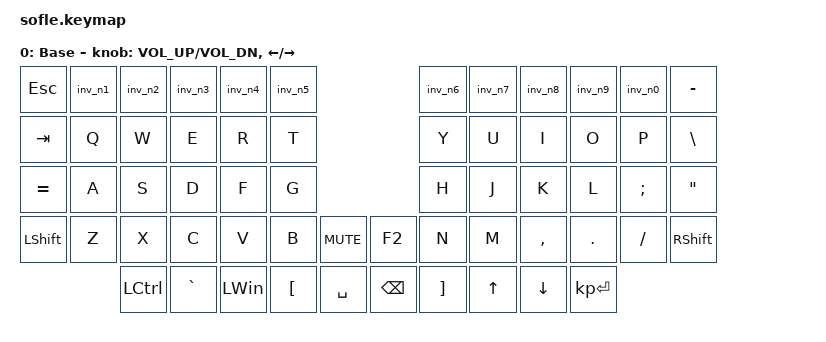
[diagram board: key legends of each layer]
/*
 * Copyright (c) 2020 The ZMK Contributors
 *
 * SPDX-License-Identifier: MIT
 */
#include <behaviors.dtsi>
#include <dt-bindings/zmk/keys.h>

// Encoders
&sensors { triggers-per-rotation = <30>; };
&left_encoder { steps = <30>; };
&right_encoder { steps = <30>; };

#define BASE 0
#define LOWER 1
#define RAISE 2
#define ADJUST 3

/ {
    // Activate ADJUST layer by pressing raise and lower
    conditional_layers { compatible = "zmk,conditional-layers"; };
    combos { compatible = "zmk,combos"; };
    
    behaviors {
        caps: caps {
            compatible = "zmk,behavior-caps-word";
            label = "CAPS";
            #binding-cells = <0>;
            continue-list = <POUND MINUS BACKSPACE UNDERSCORE>;
        };

        // Inverted number behaviors with smart modifier handling
        inv_n1: inv_n1 {
            compatible = "zmk,behavior-mod-morph";
            label = "INVERTED_1";
            #binding-cells = <0>;
            bindings = <&kp EXCL>, <&kp N1>;
            mods = <(MOD_LSFT|MOD_RSFT|MOD_LGUI|MOD_RGUI|MOD_LCTL|MOD_RCTL|MOD_LALT|MOD_RALT)>;
            keep-mods = <(MOD_LGUI|MOD_RGUI|MOD_LCTL|MOD_RCTL|MOD_LALT|MOD_RALT)>;
        };

        inv_n2: inv_n2 {
            compatible = "zmk,behavior-mod-morph";
            label = "INVERTED_2";
            #binding-cells = <0>;
            bindings = <&kp AT>, <&kp N2>;
            mods = <(MOD_LSFT|MOD_RSFT|MOD_LGUI|MOD_RGUI|MOD_LCTL|MOD_RCTL|MOD_LALT|MOD_RALT)>;
            keep-mods = <(MOD_LGUI|MOD_RGUI|MOD_LCTL|MOD_RCTL|MOD_LALT|MOD_RALT)>;
        };

        inv_n3: inv_n3 {
            compatible = "zmk,behavior-mod-morph";
            label = "INVERTED_3";
            #binding-cells = <0>;
            bindings = <&kp HASH>, <&kp N3>;
            mods = <(MOD_LSFT|MOD_RSFT|MOD_LGUI|MOD_RGUI|MOD_LCTL|MOD_RCTL|MOD_LALT|MOD_RALT)>;
            keep-mods = <(MOD_LGUI|MOD_RGUI|MOD_LCTL|MOD_RCTL|MOD_LALT|MOD_RALT)>;
        };

        inv_n4: inv_n4 {
            compatible = "zmk,behavior-mod-morph";
            label = "INVERTED_4";
            #binding-cells = <0>;
            bindings = <&kp DLLR>, <&kp N4>;
            mods = <(MOD_LSFT|MOD_RSFT|MOD_LGUI|MOD_RGUI|MOD_LCTL|MOD_RCTL|MOD_LALT|MOD_RALT)>;
            keep-mods = <(MOD_LGUI|MOD_RGUI|MOD_LCTL|MOD_RCTL|MOD_LALT|MOD_RALT)>;
        };

        inv_n5: inv_n5 {
            compatible = "zmk,behavior-mod-morph";
            label = "INVERTED_5";
            #binding-cells = <0>;
            bindings = <&kp PRCNT>, <&kp N5>;
            mods = <(MOD_LSFT|MOD_RSFT|MOD_LGUI|MOD_RGUI|MOD_LCTL|MOD_RCTL|MOD_LALT|MOD_RALT)>;
            keep-mods = <(MOD_LGUI|MOD_RGUI|MOD_LCTL|MOD_RCTL|MOD_LALT|MOD_RALT)>;
        };

        inv_n6: inv_n6 {
            compatible = "zmk,behavior-mod-morph";
            label = "INVERTED_6";
            #binding-cells = <0>;
            bindings = <&kp CARET>, <&kp N6>;
            mods = <(MOD_LSFT|MOD_RSFT|MOD_LGUI|MOD_RGUI|MOD_LCTL|MOD_RCTL|MOD_LALT|MOD_RALT)>;
            keep-mods = <(MOD_LGUI|MOD_RGUI|MOD_LCTL|MOD_RCTL|MOD_LALT|MOD_RALT)>;
        };

        inv_n7: inv_n7 {
            compatible = "zmk,behavior-mod-morph";
            label = "INVERTED_7";
            #binding-cells = <0>;
            bindings = <&kp AMPS>, <&kp N7>;
            mods = <(MOD_LSFT|MOD_RSFT|MOD_LGUI|MOD_RGUI|MOD_LCTL|MOD_RCTL|MOD_LALT|MOD_RALT)>;
            keep-mods = <(MOD_LGUI|MOD_RGUI|MOD_LCTL|MOD_RCTL|MOD_LALT|MOD_RALT)>;
        };

        inv_n8: inv_n8 {
            compatible = "zmk,behavior-mod-morph";
            label = "INVERTED_8";
            #binding-cells = <0>;
            bindings = <&kp ASTRK>, <&kp N8>;
            mods = <(MOD_LSFT|MOD_RSFT|MOD_LGUI|MOD_RGUI|MOD_LCTL|MOD_RCTL|MOD_LALT|MOD_RALT)>;
            keep-mods = <(MOD_LGUI|MOD_RGUI|MOD_LCTL|MOD_RCTL|MOD_LALT|MOD_RALT)>;
        };

        inv_n9: inv_n9 {
            compatible = "zmk,behavior-mod-morph";
            label = "INVERTED_9";
            #binding-cells = <0>;
            bindings = <&kp LPAR>, <&kp N9>;
            mods = <(MOD_LSFT|MOD_RSFT|MOD_LGUI|MOD_RGUI|MOD_LCTL|MOD_RCTL|MOD_LALT|MOD_RALT)>;
            keep-mods = <(MOD_LGUI|MOD_RGUI|MOD_LCTL|MOD_RCTL|MOD_LALT|MOD_RALT)>;
        };

        inv_n0: inv_n0 {
            compatible = "zmk,behavior-mod-morph";
            label = "INVERTED_0";
            #binding-cells = <0>;
            bindings = <&kp RPAR>, <&kp N0>;
            mods = <(MOD_LSFT|MOD_RSFT|MOD_LGUI|MOD_RGUI|MOD_LCTL|MOD_RCTL|MOD_LALT|MOD_RALT)>;
            keep-mods = <(MOD_LGUI|MOD_RGUI|MOD_LCTL|MOD_RCTL|MOD_LALT|MOD_RALT)>;
        };
    };

    keymap {
        compatible = "zmk,keymap";
        
        default_layer {
            display-name = "Base";
            // ------------------------------------------------------------------------------------------------------------
            // |   ESC |  !  |  @  |  #   |  $   |  %   |                   |  ^   |  &    |  *    |  (   |   )   |   -   |
            // |  TAB  |  Q  |  W  |  E   |  R   |  T   |                   |  Y   |  U    |  I    |  O   |   P   |   \   |
            // |   =   |  A  |  S  |  D   |  F   |  G   |                   |  H   |  J    |  K    |  L   |   ;   |   "   |
            // | SHIFT |  Z  |  X  |  C   |  V   |  B   |  MUTE  |  |  F2   |  N   |  M    |  ,    |  .   |   /   | SHIFT |
            //               | CTRL|  `   | WIN  |  [   | SPACE  |  | BKSPC |  ]   |  UP   | DOWN  | ENTER|
            bindings = <
&kp ESCAPE      &inv_n1  &inv_n2    &inv_n3    &inv_n4   &inv_n5                                        &inv_n6            &inv_n7       &inv_n8         &inv_n9       &inv_n0   &kp MINUS
&kp TAB         &kp Q    &kp W      &kp E      &kp R     &kp T                                          &kp Y              &kp U         &kp I           &kp O         &kp P     &kp BACKSLASH
&kp EQUAL       &kp A    &kp S      &kp D      &kp F     &kp G                                          &kp H              &kp J         &kp K           &kp L         &kp SEMI  &kp DOUBLE_QUOTES
&kp LEFT_SHIFT  &kp Z    &kp X      &kp C      &kp V     &kp B             &kp C_MUTE    &kp F2         &kp N              &kp M         &kp COMMA       &kp DOT       &kp FSLH  &kp RSHFT
                         &kp LCTRL  &kp GRAVE  &kp LWIN  &kp LEFT_BRACKET  &kp SPACE     &kp BACKSPACE  &kp RIGHT_BRACKET  &kp UP_ARROW  &kp DOWN_ARROW  &kp KP_ENTER
            >;
            
            sensor-bindings = <&inc_dec_kp C_VOL_UP C_VOL_DN>, <&inc_dec_kp LEFT RIGHT_ARROW>;
        };
    };
};
